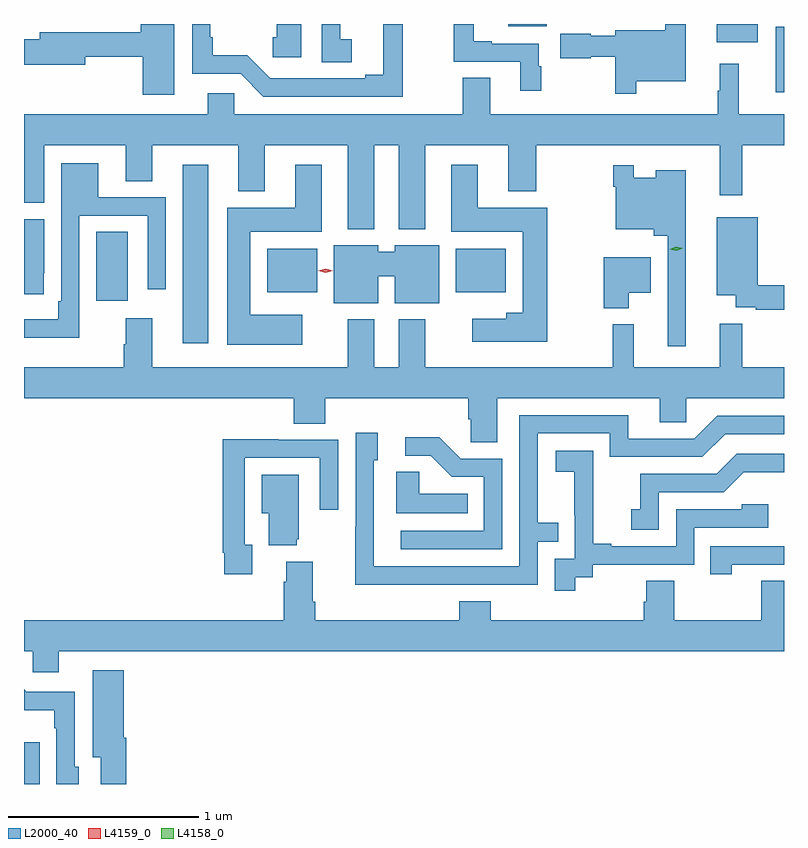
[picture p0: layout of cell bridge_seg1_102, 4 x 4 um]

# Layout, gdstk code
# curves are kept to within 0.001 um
import gdstk
lib = gdstk.Library(unit=1e-6, precision=1e-09)
def R(c, l, rs):  # rectangles x0, y0, x1, y1
    for r in rs: c.add(gdstk.rectangle(r[:2], r[2:], *l))
def P(c, l, *ps):  # polygons
    for p in ps: c.add(gdstk.Polygon(p, *l))
L2000_40 = (2000, 40)
L4158_0 = (4158, 0)
L4159_0 = (4159, 0)

bridge_seg1_102 = lib.new_cell('bridge_seg1_102')
R(bridge_seg1_102, L2000_40, [(134.544,508.41,134.626,508.63), (135.38,510.729,135.514,511.669), (134.924,510.954,135.091,511.316), (135.824,510.998,136.087,511.228), (136.817,510.998,137.08,511.228), (138.5,512.051,138.544,512.395), (138.191,512.315,138.406,512.41), (137.093,512.399,137.295,512.41)])
P(bridge_seg1_102, L2000_40, [(137.266,512.187),(137.253,512.187),(137.253,512.307),(137.005,512.307),(137.005,512.32),(136.91,512.32),(136.91,512.41),(136.807,512.41),(136.807,512.211),(137.156,512.211),(137.156,512.058),(137.266,512.058)],
  [(135.334,512.41),(135.158,512.41),(135.158,512.366),(134.627,512.366),(134.627,512.33),(134.544,512.33),(134.544,512.195),(134.866,512.195),(134.866,512.238),(135.17,512.238),(135.17,512.037),(135.334,512.037)],
  [(136.538,512.41),(136.436,512.41),(136.436,512.144),(136.34,512.144),(136.34,512.124),(135.84,512.124),(135.719,512.245),(135.538,512.245),(135.538,512.341),(135.525,512.341),(135.525,512.41),(135.429,512.41),(135.429,512.148),(135.684,512.148),(135.804,512.028),(136.538,512.028)],
  [(136.003,512.41),(135.875,512.41),(135.875,512.34),(135.853,512.34),(135.853,512.235),(136.003,512.235)],
  [(137.767,512.108),(138.028,512.108),(138.028,512.41),(137.919,512.41),(137.919,512.377),(137.657,512.377),(137.657,512.347),(137.526,512.347),(137.526,512.359),(137.366,512.359),(137.366,512.23),(137.526,512.23),(137.526,512.238),(137.657,512.238),(137.657,512.043),(137.767,512.043)],
  [(136.27,512.329),(136.209,512.329),(136.209,512.41),(136.11,512.41),(136.11,512.209),(136.27,512.209)],
  [(136.387,511.772),(136.517,511.772),(136.517,511.331),(136.657,511.331),(136.657,511.772),(137.093,511.772),(137.093,511.529),(137.241,511.529),(137.241,511.772),(138.206,511.772),(138.206,511.509),(138.323,511.509),(138.323,511.772),(138.544,511.772),(138.544,511.936),(138.305,511.936),(138.305,512.2),(138.206,512.2),(138.206,512.06),(138.195,512.06),(138.195,511.936),(136.999,511.936),(136.999,512.126),(136.852,512.126),(136.852,511.936),(135.651,511.936),(135.651,512.046),(135.512,512.046),(135.512,511.936),(134.544,511.936),(134.544,511.468),(134.65,511.468),(134.65,511.772),(135.08,511.772),(135.08,511.582),(135.22,511.582),(135.22,511.772),(135.671,511.772),(135.671,511.529),(135.811,511.529),(135.811,511.772),(136.247,511.772),(136.247,511.331),(136.387,511.331)],
  [(134.835,511.401),(135.195,511.401),(135.195,511.014),(135.291,511.014),(135.291,511.497),(134.935,511.497),(134.935,511.678),(134.739,511.678),(134.739,510.952),(134.723,510.952),(134.723,510.856),(134.544,510.856),(134.544,510.758),(134.835,510.758)],
  [(136.009,510.88),(135.736,510.88),(135.736,511.316),(136.111,511.316),(136.111,511.669),(135.971,511.669),(135.971,511.444),(135.614,511.444),(135.614,510.722),(136.009,510.722)],
  [(137.298,511.444),(136.933,511.444),(136.933,511.669),(136.793,511.669),(136.793,511.316),(137.168,511.316),(137.168,510.889),(137.081,510.889),(137.081,510.859),(136.902,510.859),(136.902,510.737),(137.298,510.737)],
  [(138.028,511.639),(137.87,511.639),(137.87,511.6),(137.754,511.6),(137.754,511.666),(137.646,511.666),(137.646,511.553),(137.658,511.553),(137.658,511.331),(137.858,511.331),(137.858,511.295),(137.931,511.295),(137.931,510.714),(138.028,510.714)],
  [(138.544,511.034),(138.406,511.034),(138.406,511.393),(138.191,511.393),(138.191,510.983),(138.29,510.983),(138.29,510.918),(138.394,510.918),(138.394,510.906),(138.544,510.906)],
  [(134.649,511.099),(134.65,511.099),(134.65,511.383),(134.544,511.383),(134.544,510.987),(134.649,510.987)],
  [(136.408,511.083),(136.496,511.083),(136.496,510.941),(136.729,510.941),(136.729,511.246),(136.496,511.246),(136.496,511.211),(136.408,511.211),(136.408,511.246),(136.175,511.246),(136.175,510.941),(136.408,510.941)],
  [(137.728,510.995),(137.842,510.995),(137.842,511.183),(137.594,511.183),(137.594,510.914),(137.728,510.914)],
  [(137.035,510.44),(137.891,510.44),(137.891,510.313),(138.03,510.313),(138.03,510.44),(138.544,510.44),(138.544,510.604),(138.323,510.604),(138.323,510.833),(138.206,510.833),(138.206,510.604),(137.753,510.604),(137.753,510.829),(137.643,510.829),(137.643,510.604),(136.657,510.604),(136.657,510.856),(136.517,510.856),(136.517,510.604),(136.387,510.604),(136.387,510.856),(136.247,510.856),(136.247,510.604),(135.22,510.604),(135.22,510.862),(135.08,510.862),(135.08,510.725),(135.068,510.725),(135.068,510.604),(134.544,510.604),(134.544,510.44),(135.965,510.44),(135.965,510.307),(136.13,510.307),(136.13,510.44),(136.883,510.44),(136.883,510.331),(136.896,510.331),(136.896,510.208),(137.035,510.208)],
  [(136.751,509.46),(137.247,509.46),(137.247,509.685),(137.357,509.685),(137.357,509.786),(137.247,509.786),(137.247,510.255),(137.628,510.255),(137.628,510.132),(138.114,510.132),(138.234,510.252),(138.544,510.252),(138.544,510.348),(138.192,510.348),(138.072,510.228),(137.725,510.228),(137.725,510.351),(137.151,510.351),(137.151,509.556),(136.386,509.556),(136.386,510.114),(136.405,510.114),(136.405,510.259),(136.29,510.259),(136.29,509.765),(136.288,509.765),(136.288,509.459)],
  [(137.061,510.123),(136.842,510.123),(136.729,510.236),(136.551,510.236),(136.551,510.138),(136.685,510.138),(136.796,510.027),(136.965,510.027),(136.965,509.742),(136.527,509.742),(136.527,509.646),(137.061,509.646)],
  [(135.745,509.67),(135.705,509.67),(135.705,510.126),(136.101,510.126),(136.101,509.853),(136.197,509.853),(136.197,510.222),(135.881,510.222),(135.881,510.224),(135.589,510.224),(135.589,509.626),(135.597,509.626),(135.597,509.514),(135.745,509.514)],
  [(137.446,509.497),(137.538,509.497),(137.538,509.565),(138.072,509.565),(138.072,509.76),(138.461,509.76),(138.461,509.883),(138.321,509.883),(138.321,509.856),(137.976,509.856),(137.976,509.661),(137.635,509.661),(137.635,509.674),(137.54,509.674),(137.54,509.957),(137.541,509.957),(137.541,510.163),(137.343,510.163),(137.343,510.053),(137.441,510.053),(137.441,509.825),(137.442,509.825),(137.442,509.595),(137.337,509.595),(137.337,509.427),(137.446,509.427)],
  [(137.886,509.946),(138.228,509.946),(138.332,510.05),(138.544,510.05),(138.544,510.147),(138.296,510.147),(138.191,510.042),(137.788,510.042),(137.788,509.857),(137.739,509.857),(137.739,509.748),(137.886,509.748)],
  [(136.88,509.938),(136.623,509.938),(136.623,510.053),(136.502,510.053),(136.502,509.834),(136.88,509.834)],
  [(135.98,509.697),(135.991,509.697),(135.991,510.037),(135.794,510.037),(135.794,509.834),(135.833,509.834),(135.833,509.666),(135.98,509.666)],
  [(138.268,509.565),(138.544,509.565),(138.544,509.661),(138.157,509.661),(138.157,509.514),(138.268,509.514)],
  [(138.544,509.48),(138.424,509.48),(138.424,509.272),(137.967,509.272),(137.967,509.48),(137.819,509.48),(137.819,509.37),(137.807,509.37),(137.807,509.272),(137,509.272),(137,509.371),(136.835,509.371),(136.835,509.272),(136.076,509.272),(136.076,509.368),(136.063,509.368),(136.063,509.581),(135.923,509.581),(135.923,509.474),(135.911,509.474),(135.911,509.272),(134.544,509.272),(134.544,509.108),(134.589,509.108),(134.589,508.998),(134.728,508.998),(134.728,509.108),(138.544,509.108)],
  [(135.083,508.654),(135.07,508.654),(135.07,509.008),(134.906,509.008),(134.906,508.55),(134.948,508.55),(134.948,508.41),(135.083,508.41)],
  [(134.832,508.5),(134.811,508.5),(134.811,508.896),(134.556,508.896),(134.544,508.908),(134.544,508.799),(134.703,508.799),(134.703,508.703),(134.715,508.703),(134.715,508.41),(134.832,508.41)])
P(bridge_seg1_102, L4158_0, [(137.978,511.217),(137.942,511.224),(137.942,511.224),(137.942,511.225),(137.977,511.237),(138.012,511.23),(138.012,511.229),(138.012,511.229)])
P(bridge_seg1_102, L4159_0, [(136.131,511.102),(136.092,511.112),(136.091,511.112),(136.092,511.112),(136.131,511.122),(136.17,511.112),(136.17,511.112),(136.17,511.112)])

lib.write_gds('bridge_seg1_102.gds')
